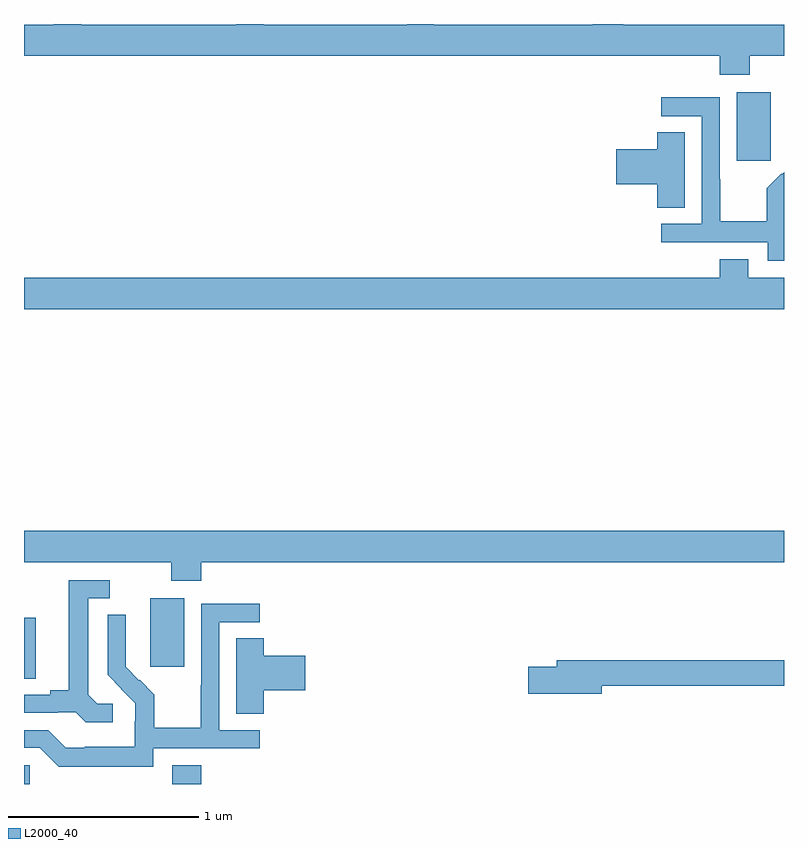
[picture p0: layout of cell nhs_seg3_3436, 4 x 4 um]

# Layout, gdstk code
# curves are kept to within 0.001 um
import gdstk
lib = gdstk.Library(unit=1e-6, precision=1e-09)
def R(c, l, rs):  # rectangles x0, y0, x1, y1
    for r in rs: c.add(gdstk.rectangle(r[:2], r[2:], *l))
def P(c, l, *ps):  # polygons
    for p in ps: c.add(gdstk.Polygon(p, *l))
L2000_40 = (2000, 40)

nhs_seg3_3436 = lib.new_cell('nhs_seg3_3436')
R(nhs_seg3_3436, L2000_40, [(289,714.4,289.029,714.498), (289.781,714.4,289.934,714.499), (289,714.955,289.063,715.275), (289.664,715.017,289.843,715.378), (292.751,717.681,292.93,718.042)])
P(nhs_seg3_3436, L2000_40, [(292.821,718.232),(293,718.232),(293,718.396),(292.154,718.396),(292.154,718.4),(291.994,718.4),(291.994,718.396),(291.157,718.396),(291.157,718.4),(291.017,718.4),(291.017,718.396),(290.263,718.396),(290.263,718.4),(290.116,718.4),(290.116,718.396),(289.302,718.396),(289.302,718.4),(289.156,718.4),(289.156,718.396),(289,718.396),(289,718.232),(292.661,718.232),(292.661,718.133),(292.821,718.133)],
  [(293,717.62),(292.989,717.609),(292.986,717.612),(292.909,717.535),(292.909,717.361),(292.665,717.361),(292.665,717.584),(292.662,717.584),(292.662,718.014),(292.353,718.014),(292.353,717.915),(292.566,717.915),(292.566,717.348),(292.353,717.348),(292.353,717.252),(292.914,717.252),(292.914,717.155),(293,717.155)],
  [(292.477,717.83),(292.334,717.83),(292.334,717.74),(292.116,717.74),(292.116,717.557),(292.334,717.557),(292.334,717.433),(292.477,717.433)],
  [(293,717.064),(292.813,717.064),(292.813,717.163),(292.661,717.163),(292.661,717.064),(289,717.064),(289,716.9),(293,716.9)],
  [(289.934,715.568),(293,715.568),(293,715.732),(289,715.732),(289,715.568),(289.774,715.568),(289.774,715.469),(289.934,715.469)],
  [(289.468,714.822),(289.386,714.822),(289.339,714.869),(289.339,715.377),(289.45,715.377),(289.45,715.473),(289.235,715.473),(289.235,714.893),(289.139,714.893),(289.139,714.87),(289,714.87),(289,714.774),(289.178,714.774),(289.178,714.777),(289.272,714.777),(289.324,714.725),(289.468,714.725)],
  [(289.68,714.588),(290.242,714.588),(290.242,714.684),(290.028,714.684),(290.028,715.251),(290.242,715.251),(290.242,715.35),(289.932,715.35),(289.932,714.92),(289.93,714.92),(289.93,714.697),(289.685,714.697),(289.685,714.871),(289.608,714.948),(289.605,714.945),(289.535,715.016),(289.536,715.292),(289.44,715.292),(289.44,714.974),(289.586,714.826),(289.586,714.729),(289.584,714.729),(289.584,714.595),(289.321,714.595),(289.321,714.591),(289.221,714.591),(289.128,714.684),(289,714.684),(289,714.591),(289.083,714.591),(289.183,714.491),(289.68,714.491)],
  [(290.261,714.893),(290.479,714.893),(290.479,715.076),(290.261,715.076),(290.261,715.166),(290.117,715.166),(290.117,714.769),(290.261,714.769)],
  [(292.042,714.916),(293,714.916),(293,715.052),(291.803,715.052),(291.803,715.016),(291.654,715.016),(291.654,714.874),(292.042,714.874)])

lib.write_gds('nhs_seg3_3436.gds')
